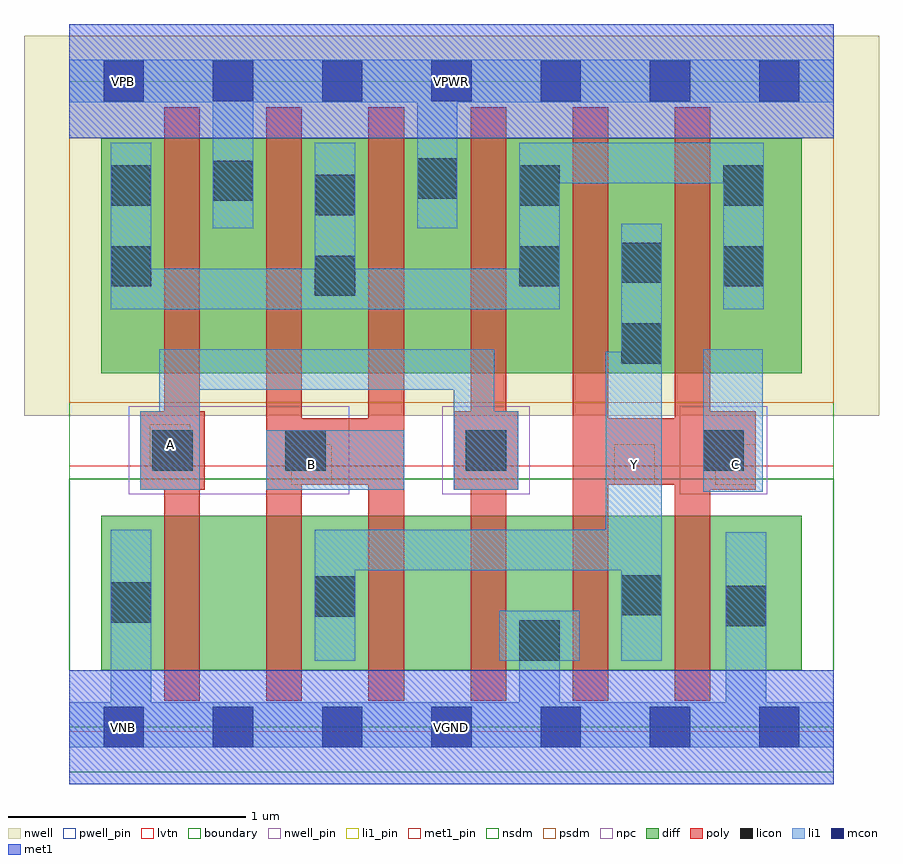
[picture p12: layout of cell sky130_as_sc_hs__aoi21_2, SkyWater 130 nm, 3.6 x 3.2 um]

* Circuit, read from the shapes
.subckt sky130_as_sc_hs__aoi21_2 A B C VGND VNB VPB VPWR Y
XM1 n1 A VGND VNB sky130_fd_pr__nfet_01v8_lvt w=0.65 l=0.15
XM2 Y B n1 VNB sky130_fd_pr__nfet_01v8_lvt w=0.65 l=0.15
XM3 n2 B Y VNB sky130_fd_pr__nfet_01v8_lvt w=0.65 l=0.15
XM4 VGND A n2 VNB sky130_fd_pr__nfet_01v8_lvt w=0.65 l=0.15
XM5 Y C VGND VNB sky130_fd_pr__nfet_01v8_lvt w=0.65 l=0.15 m=2
XM6 VPWR A n3 VPB sky130_fd_pr__pfet_01v8 w=0.99 l=0.15 m=2
XM7 n3 B VPWR VPB sky130_fd_pr__pfet_01v8 w=0.99 l=0.15 m=2
XM8 Y C n3 VPB sky130_fd_pr__pfet_01v8 w=0.99 l=0.15 m=2
.ends

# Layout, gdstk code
import gdstk
lib = gdstk.Library(unit=1e-6, precision=1e-09)
def R(c, l, rs):  # rectangles x0, y0, x1, y1
    for r in rs: c.add(gdstk.rectangle(r[:2], r[2:], *l))
def A(c, l, x, y, w, h, nx, ny, dx, dy):  # array of equal rectangles
    R(c, l, [(x+i*dx, y+j*dy, x+i*dx+w, y+j*dy+h) for i in range(nx) for j in range(ny)])
nwell_pin = (64, 16)
nwell = (64, 20)
diff = (65, 20)
poly = (66, 20)
licon = (66, 44)
li1_pin = (67, 16)
li1 = (67, 20)
mcon = (67, 44)
met1_pin = (68, 16)
met1 = (68, 20)
nsdm = (93, 44)
psdm = (94, 20)
npc = (95, 20)
pwell_pin = (122, 16)
lvtn = (125, 44)
boundary = (235, 4)

sky130_as_sc_hs__aoi21_2 = lib.new_cell('sky130_as_sc_hs__aoi21_2')
R(sky130_as_sc_hs__aoi21_2, nwell_pin, [(0.145,2.635,0.315,2.805)])
R(sky130_as_sc_hs__aoi21_2, nwell, [(-0.19,1.31,3.41,2.91)])
R(sky130_as_sc_hs__aoi21_2, diff, [(0.135,0.24,3.085,0.89), (0.135,1.49,3.085,2.48)])
R(sky130_as_sc_hs__aoi21_2, poly, [(0.4,0.11,0.55,1), (0.83,0.11,0.98,1.02), (1.26,0.11,1.41,1.02), (1.69,0.11,1.84,1), (2.12,0.11,2.27,1.02), (2.55,0.11,2.7,1), (0.3,1,0.57,1.33), (1.62,1,1.89,1.33), (2.55,1,2.89,1.02), (0.83,1.02,1.41,1.3), (2.12,1.02,2.89,1.3), (0.83,1.3,0.98,2.61), (1.26,1.3,1.41,2.61), (2.12,1.3,2.27,2.61), (2.55,1.3,2.89,1.33), (0.4,1.33,0.55,2.61), (1.69,1.33,1.84,2.61), (2.55,1.33,2.7,2.61)])
R(sky130_as_sc_hs__aoi21_2, licon, [(1.895,0.28,2.065,0.45), (2.765,0.425,2.935,0.595), (0.175,0.44,0.345,0.61), (1.035,0.465,1.205,0.635), (2.325,0.47,2.495,0.64), (0.35,1.08,0.52,1.25), (0.91,1.08,1.08,1.25), (1.67,1.08,1.84,1.25), (2.67,1.08,2.84,1.25), (2.325,1.53,2.495,1.7), (1.035,1.815,1.205,1.985), (0.175,1.855,0.345,2.025), (1.895,1.855,2.065,2.025), (2.755,1.855,2.925,2.025), (2.325,1.87,2.495,2.04), (1.035,2.155,1.205,2.325), (0.175,2.195,0.345,2.365), (1.895,2.195,2.065,2.365), (2.755,2.195,2.925,2.365), (0.605,2.215,0.775,2.385), (1.465,2.225,1.635,2.395)])
R(sky130_as_sc_hs__aoi21_2, li1_pin, [(0.935,1.02,1.105,1.19), (2.295,1.02,2.465,1.19), (2.72,1.02,2.89,1.19), (0.34,1.105,0.51,1.275)])
R(sky130_as_sc_hs__aoi21_2, li1, [(0,-0.085,3.22,0.105), (0.175,0.105,0.345,0.83), (1.895,0.105,2.065,0.28), (2.765,0.105,2.935,0.82), (1.035,0.28,1.205,0.66), (1.81,0.28,2.15,0.49), (2.325,0.28,2.495,0.66), (1.035,0.66,2.495,0.83), (2.26,0.83,2.495,1.58), (2.67,0.99,2.92,1.59), (0.3,1,0.55,1.33), (0.83,1,1.41,1.25), (1.62,1,1.89,1.33), (0.38,1.33,0.55,1.42), (1.62,1.33,1.79,1.42), (0.38,1.42,1.79,1.59), (2.325,1.58,2.495,2.12), (0.175,1.76,2.065,1.93), (2.755,1.76,2.925,2.29), (0.175,1.93,0.345,2.46), (1.035,1.93,1.205,2.46), (1.895,1.93,2.065,2.29), (0.605,2.1,0.775,2.63), (1.465,2.1,1.635,2.63), (1.895,2.29,2.925,2.46), (0,2.63,3.22,2.81)])
A(sky130_as_sc_hs__aoi21_2, mcon, 0.145, -0.085, 0.17, 0.17, 7, 2, 0.46, 2.72)
R(sky130_as_sc_hs__aoi21_2, met1_pin, [(0,-0.24,3.22,0.24), (0.145,-0.085,0.315,0.085), (0,2.48,3.22,2.96), (0.145,2.635,0.315,2.805)])
R(sky130_as_sc_hs__aoi21_2, met1, [(0,-0.24,3.22,0.24), (0,2.48,3.22,2.96)])
R(sky130_as_sc_hs__aoi21_2, nsdm, [(0,-0.19,3.22,1.045)])
R(sky130_as_sc_hs__aoi21_2, psdm, [(0,1.365,3.22,2.91)])
R(sky130_as_sc_hs__aoi21_2, npc, [(0.25,0.98,1.18,1.35), (1.57,0.98,1.94,1.35), (2.57,0.98,2.94,1.35)])
R(sky130_as_sc_hs__aoi21_2, pwell_pin, [(0.145,-0.085,0.315,0.085)])
R(sky130_as_sc_hs__aoi21_2, lvtn, [(0,-0.02,3.22,1.1)])
R(sky130_as_sc_hs__aoi21_2, boundary, [(0,0,3.22,2.72)])
sky130_as_sc_hs__aoi21_2.add(gdstk.Label('VNB', (0.23,0), layer=64, texttype=59))
sky130_as_sc_hs__aoi21_2.add(gdstk.Label('VPB', (0.23,2.72), layer=64, texttype=5))
sky130_as_sc_hs__aoi21_2.add(gdstk.Label('A', (0.425,1.19), layer=67, texttype=5))
sky130_as_sc_hs__aoi21_2.add(gdstk.Label('B', (1.02,1.105), layer=67, texttype=5))
sky130_as_sc_hs__aoi21_2.add(gdstk.Label('C', (2.805,1.105), layer=67, texttype=5))
sky130_as_sc_hs__aoi21_2.add(gdstk.Label('Y', (2.38,1.105), layer=67, texttype=5))
sky130_as_sc_hs__aoi21_2.add(gdstk.Label('VNB', (0.23,0), layer=64, texttype=59))
sky130_as_sc_hs__aoi21_2.add(gdstk.Label('VPB', (0.23,2.72), layer=64, texttype=5))
sky130_as_sc_hs__aoi21_2.add(gdstk.Label('VPWR', (1.61,2.72), layer=68, texttype=5))
sky130_as_sc_hs__aoi21_2.add(gdstk.Label('VPWR', (0.23,2.72), layer=68, texttype=5))
sky130_as_sc_hs__aoi21_2.add(gdstk.Label('VGND', (1.61,0), layer=68, texttype=5))
sky130_as_sc_hs__aoi21_2.add(gdstk.Label('VGND', (0.23,0), layer=68, texttype=5))
sky130_as_sc_hs__aoi21_2.add(gdstk.Label('A', (0.425,1.19), layer=67, texttype=5))
sky130_as_sc_hs__aoi21_2.add(gdstk.Label('B', (1.02,1.105), layer=67, texttype=5))
sky130_as_sc_hs__aoi21_2.add(gdstk.Label('C', (2.805,1.105), layer=67, texttype=5))
sky130_as_sc_hs__aoi21_2.add(gdstk.Label('Y', (2.38,1.105), layer=67, texttype=5))

lib.write_gds('sky130_as_sc_hs__aoi21_2.gds')
